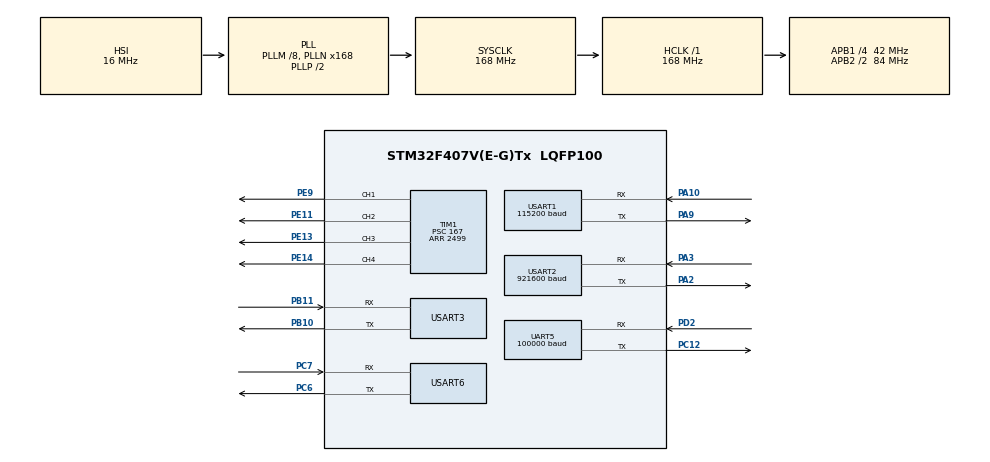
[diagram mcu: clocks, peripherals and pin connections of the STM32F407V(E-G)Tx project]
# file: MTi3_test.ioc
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Mcu.Family=STM32F4
Mcu.Name=STM32F407V(E-G)Tx
Mcu.Package=LQFP100
NVIC.PriorityGroup=NVIC_PRIORITYGROUP_4
NVIC.TIM6_DAC_IRQn=true\:0\:0\:false\:false\:true\:true
NVIC.TIM7_IRQn=true\:0\:0\:false\:false\:true\:true
NVIC.UART5_IRQn=true\:0\:0\:false\:false\:true\:true
NVIC.USART1_IRQn=true\:0\:0\:false\:false\:true\:true
NVIC.USART2_IRQn=true\:0\:0\:false\:false\:true\:true
NVIC.USART3_IRQn=true\:0\:0\:false\:false\:true\:true
NVIC.USART6_IRQn=true\:0\:0\:false\:false\:true\:true
PA10.Mode=Asynchronous
PA10.Signal=USART1_RX
PA13.Mode=Serial_Wire
PA13.Signal=SYS_JTMS-SWDIO
PA14.Mode=Serial_Wire
PA14.Signal=SYS_JTCK-SWCLK
PA2.Mode=Asynchronous
PA2.Signal=USART2_TX
PA3.Mode=Asynchronous
PA3.Signal=USART2_RX
PA9.Mode=Asynchronous
PA9.Signal=USART1_TX
PB10.Mode=Asynchronous
PB10.Signal=USART3_TX
PB11.Mode=Asynchronous
PB11.Signal=USART3_RX
PC12.Mode=Asynchronous
PC12.Signal=UART5_TX
PC6.Mode=Asynchronous
PC6.Signal=USART6_TX
PC7.Mode=Asynchronous
PC7.Signal=USART6_RX
PD2.Mode=Asynchronous
PD2.Signal=UART5_RX
PE11.Signal=S_TIM1_CH2
PE13.Signal=S_TIM1_CH3
PE14.Signal=S_TIM1_CH4
PE9.Signal=S_TIM1_CH1
PH0-OSC_IN.Mode=HSE-External-Oscillator
PH0-OSC_IN.Signal=RCC_OSC_IN
PH1-OSC_OUT.Mode=HSE-External-Oscillator
PH1-OSC_OUT.Signal=RCC_OSC_OUT
ProjectManager.HeapSize=0x200
ProjectManager.StackSize=0x4000
ProjectManager.TargetToolchain=EWARM
RCC.48MHZClocksFreq_Value=84000000
RCC.AHBFreq_Value=168000000
RCC.APB1CLKDivider=RCC_HCLK_DIV4
RCC.APB1Freq_Value=42000000
RCC.APB1TimFreq_Value=84000000
RCC.APB2CLKDivider=RCC_HCLK_DIV2
RCC.APB2Freq_Value=84000000
RCC.APB2TimFreq_Value=168000000
RCC.CortexFreq_Value=168000000
RCC.HCLKFreq_Value=168000000
RCC.HSE_VALUE=25000000
RCC.HSI_VALUE=16000000
RCC.LSE_VALUE=32768
RCC.PLLM=8
RCC.PLLN=168
RCC.SYSCLKFreq_VALUE=168000000
RCC.SYSCLKSource=RCC_SYSCLKSOURCE_PLLCLK
RCC.VCOOutputFreq_Value=336000000
SH.S_TIM1_CH1.0=TIM1_CH1,PWM Generation1 CH1
SH.S_TIM1_CH2.0=TIM1_CH2,PWM Generation2 CH2
SH.S_TIM1_CH3.0=TIM1_CH3,PWM Generation3 CH3
SH.S_TIM1_CH4.0=TIM1_CH4,PWM Generation4 CH4
TIM1.Channel-PWM\ Generation1\ CH1=TIM_CHANNEL_1
TIM1.Channel-PWM\ Generation2\ CH2=TIM_CHANNEL_2
TIM1.Channel-PWM\ Generation3\ CH3=TIM_CHANNEL_3
TIM1.Channel-PWM\ Generation4\ CH4=TIM_CHANNEL_4
TIM1.Period=2499
TIM1.Prescaler=167
TIM6.Period=999
TIM6.Prescaler=83
TIM7.Period=9999
TIM7.Prescaler=8399
UART5.BaudRate=100000
UART5.Parity=PARITY_EVEN
UART5.StopBits=UART_STOPBITS_2
UART5.VirtualMode=Asynchronous
UART5.WordLength=WORDLENGTH_9B
USART1.BaudRate=115200
USART1.Parity=PARITY_NONE
USART1.StopBits=STOPBITS_1
USART1.VirtualMode=VM_ASYNC
USART1.WordLength=WORDLENGTH_8B
USART2.BaudRate=921600
USART2.VirtualMode=VM_ASYNC
USART3.VirtualMode=VM_ASYNC
USART6.VirtualMode=VM_ASYNC
VP_TIM1_VS_ClockSourceINT.Mode=Internal
VP_TIM6_VS_ClockSourceINT.Mode=Enable_Timer
VP_TIM7_VS_ClockSourceINT.Mode=Enable_Timer
board=MTi3_test

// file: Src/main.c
/**
  ******************************************************************************
  * File Name          : main.c
  * Description        : Main program body
  ******************************************************************************
  ** This notice applies to any and all portions of this file
  * that are not between comment pairs USER CODE BEGIN and
  * USER CODE END. Other portions of this file, whether
  * inserted by the user or by software development tools
  * are owned by their respective copyright owners.
  *
  * COPYRIGHT(c) 2017 STMicroelectronics
  *
  * Redistribution and use in source and binary forms, with or without modification,
  * are permitted provided that the following conditions are met:
  *   1. Redistributions of source code must retain the above copyright notice,
  *      this list of conditions and the following disclaimer.
  *   2. Redistributions in binary form must reproduce the above copyright notice,
  *      this list of conditions and the following disclaimer in the documentation
  *      and/or other materials provided with the distribution.
  *   3. Neither the name of STMicroelectronics nor the names of its contributors
  *      may be used to endorse or promote products derived from this software
  *      without specific prior written permission.
  *
  * THIS SOFTWARE IS PROVIDED BY THE COPYRIGHT HOLDERS AND CONTRIBUTORS "AS IS"
  * AND ANY EXPRESS OR IMPLIED WARRANTIES, INCLUDING, BUT NOT LIMITED TO, THE
  * IMPLIED WARRANTIES OF MERCHANTABILITY AND FITNESS FOR A PARTICULAR PURPOSE ARE
  * DISCLAIMED. IN NO EVENT SHALL THE COPYRIGHT HOLDER OR CONTRIBUTORS BE LIABLE
  * FOR ANY DIRECT, INDIRECT, INCIDENTAL, SPECIAL, EXEMPLARY, OR CONSEQUENTIAL
  * DAMAGES (INCLUDING, BUT NOT LIMITED TO, PROCUREMENT OF SUBSTITUTE GOODS OR
  * SERVICES; LOSS OF USE, DATA, OR PROFITS; OR BUSINESS INTERRUPTION) HOWEVER
  * CAUSED AND ON ANY THEORY OF LIABILITY, WHETHER IN CONTRACT, STRICT LIABILITY,
  * OR TORT (INCLUDING NEGLIGENCE OR OTHERWISE) ARISING IN ANY WAY OUT OF THE USE
  * OF THIS SOFTWARE, EVEN IF ADVISED OF THE POSSIBILITY OF SUCH DAMAGE.
  *
  ******************************************************************************
  */
#include "main.h"
#include "stm32f4xx_hal.h"
#include "tim.h"
#include "usart.h"
#include "gpio.h"

/* USER CODE BEGIN Includes */
#include "mti.h"
/* USER CODE END Includes */

/* USER CODE BEGIN PV */
/* Private variables ---------------------------------------------------------*/
uint16_t loopCounter = 0;

extern volatile uint8_t mti_rx_flag;
extern volatile uint8_t mti_checksum_flag;
extern uint16_t mti_msg_len;
extern uint8_t mti_it_buff[1024];
extern uint8_t mti_buff[1024];
extern Sensor sensor;

#define SBUS_DATA_SIZE 23
#define UART_DATA_SIZE 25
#define START_BYTE 0x0f
#define END_BYTE 0x04

typedef struct _SBUS
{
  uint8_t         uart_rx_temp_buff[2];
  uint8_t         uart_rx_buff[UART_DATA_SIZE];
  uint16_t        data_buff[18];
  uint16_t        idx;

  volatile        uint8_t rx_flag;
  volatile        uint8_t start_flag;

}sbus_struct;

typedef struct _SBUS_PWM
{
  float pwm;

}sbus_pwm_struct;

  sbus_pwm_struct sbus_pwm;
  sbus_struct sbus;

/* USER CODE END PV */

void SystemClock_Config(void);
void sbus_data_decoding();
void sbus_data_filtering();
void sbus_pwm_make(uint16_t F_value);
/* USER CODE BEGIN PFP */
/* Private function prototypes -----------------------------------------------*/

/* USER CODE END PFP */

int main(void)
{

  /* USER CODE BEGIN 1 */

  sbus.idx = 0;
  sbus.rx_flag = 0;
  sbus.start_flag = 0;

  sbus_pwm.pwm = 0;
  /* USER CODE END 1 */

  /* MCU Configuration----------------------------------------------------------*/

  /* Reset of all peripherals, Initializes the Flash interface and the Systick. */
  HAL_Init();

  /* Configure the system clock */
  SystemClock_Config();

  /* Initialize all configured peripherals */
  MX_GPIO_Init();
  MX_USART1_UART_Init();
  MX_USART2_UART_Init();
  MX_USART3_UART_Init();
  MX_USART6_UART_Init();
  MX_TIM1_Init();
  MX_TIM6_Init();
  MX_TIM7_Init();
  MX_UART5_Init();

  /* USER CODE BEGIN 2 */
  init_mti();

  HAL_UART_Receive_IT(&huart3, mti_it_buff, 1);
  HAL_UART_Receive_IT(&huart5,sbus.uart_rx_buff,1);

  //HAL_TIM_Base_Start_IT(&htim7);
  //HAL_TIM_Base_Start_IT(&htim6);

  HAL_TIM_PWM_Start(&htim1,TIM_CHANNEL_1);
  TIM1->CCR1 = 1000;
  HAL_TIM_PWM_Start(&htim1,TIM_CHANNEL_2);
  TIM1->CCR2 = 1000;
  HAL_TIM_PWM_Start(&htim1,TIM_CHANNEL_3);
  TIM1->CCR3 = 1000;
  HAL_TIM_PWM_Start(&htim1,TIM_CHANNEL_4);
  TIM1->CCR4 = 1000;
  /* USER CODE END 2 */

  /* Infinite loop */
  /* USER CODE BEGIN WHILE */
  while (1)
  {
    if(sbus.rx_flag == 1)
    {
      sbus.rx_flag = 0;
      sbus_data_filtering();
    }

    if(mti_rx_flag == 1)
    {
      mti_rx_flag = 0;
      mti_checksum_flag = filter_mti();
      if(mti_checksum_flag == 1)
      {
        //mti_checksum_flag = 0;
        decode_mti(EULER_ANGLES);
        printf("%.4d \r\n",(uint32_t)(sensor.euler[0]*3 + 1500.0f));
        TIM1->CCR1 = (uint32_t)(sensor.euler[0]*3 + 1500.0f);
        //loopCounter++;
      }
    }

  /* USER CODE END WHILE */

  }

}

/** System Clock Configuration
*/
void SystemClock_Config(void)
{

  RCC_OscInitTypeDef RCC_OscInitStruct;
  RCC_ClkInitTypeDef RCC_ClkInitStruct;

    /**Configure the main internal regulator output voltage
    */
  __HAL_RCC_PWR_CLK_ENABLE();

  __HAL_PWR_VOLTAGESCALING_CONFIG(PWR_REGULATOR_VOLTAGE_SCALE1);

    /**Initializes the CPU, AHB and APB busses clocks
    */
  RCC_OscInitStruct.OscillatorType = RCC_OSCILLATORTYPE_HSI;
  RCC_OscInitStruct.HSIState = RCC_HSI_ON;
  RCC_OscInitStruct.HSICalibrationValue = 16;
  RCC_OscInitStruct.PLL.PLLState = RCC_PLL_ON;
  RCC_OscInitStruct.PLL.PLLSource = RCC_PLLSOURCE_HSI;
  RCC_OscInitStruct.PLL.PLLM = 8;
  RCC_OscInitStruct.PLL.PLLN = 168;
  RCC_OscInitStruct.PLL.PLLP = RCC_PLLP_DIV2;
  RCC_OscInitStruct.PLL.PLLQ = 4;
  if (HAL_RCC_OscConfig(&RCC_OscInitStruct) != HAL_OK)
  {
    _Error_Handler(__FILE__, __LINE__);
  }

    /**Initializes the CPU, AHB and APB busses clocks
    */
  RCC_ClkInitStruct.ClockType = RCC_CLOCKTYPE_HCLK|RCC_CLOCKTYPE_SYSCLK
                              |RCC_CLOCKTYPE_PCLK1|RCC_CLOCKTYPE_PCLK2;
  RCC_ClkInitStruct.SYSCLKSource = RCC_SYSCLKSOURCE_PLLCLK;
  RCC_ClkInitStruct.AHBCLKDivider = RCC_SYSCLK_DIV1;
  RCC_ClkInitStruct.APB1CLKDivider = RCC_HCLK_DIV4;
  RCC_ClkInitStruct.APB2CLKDivider = RCC_HCLK_DIV2;

  if (HAL_RCC_ClockConfig(&RCC_ClkInitStruct, FLASH_LATENCY_5) != HAL_OK)
  {
    _Error_Handler(__FILE__, __LINE__);
  }

    /**Configure the Systick interrupt time
    */
  HAL_SYSTICK_Config(HAL_RCC_GetHCLKFreq()/1000);

    /**Configure the Systick
    */
  HAL_SYSTICK_CLKSourceConfig(SYSTICK_CLKSOURCE_HCLK);

  /* SysTick_IRQn interrupt configuration */
  HAL_NVIC_SetPriority(SysTick_IRQn, 0, 0);
}

/* USER CODE BEGIN 4 */
void sbus_pwm_make(uint16_t F_value){
   //pwm = value / ((max_pwm - min_pwm) / (max_duty - min_duty)) + 3695
   float pulse;

   pulse = F_value *0.625 + 880;
   sbus_pwm.pwm = pulse;
   //__HAL_TIM_SetCompare(&htim1, TIM_CHANNEL_1, sbus_pwm.pwm);

   //TIM1->CCR1 = (uint32_t)sbus_pwm.pwm;

   //printf("%.4d %.4f \r\n", F_value, sbus_pwm.pwm);
}

void sbus_data_filtering()
{
  if(sbus.idx == 0 && sbus.uart_rx_temp_buff[0] != START_BYTE)
    sbus.start_flag = 0;

  if(sbus.idx == 0 && sbus.uart_rx_temp_buff[0] == START_BYTE && sbus.start_flag == 0)
    sbus.start_flag = 1;

  if(sbus.start_flag)
  {
    sbus.uart_rx_buff[sbus.idx++] = sbus.uart_rx_temp_buff[0];

    if(sbus.idx == UART_DATA_SIZE)
    {
      sbus.idx = 0;
      sbus.start_flag = 0;

      if((sbus.uart_rx_buff[24]&0x0f) == 0x04)
        sbus_data_decoding();
    }
  }
}

void sbus_data_decoding()
{
  sbus.data_buff[0] = sbus.uart_rx_buff[1] + (uint16_t)((sbus.uart_rx_buff[2]&0x07)<<8);
  sbus.data_buff[1] = (uint16_t)((sbus.uart_rx_buff[2]&0xf8)>>3) + (uint16_t)((sbus.uart_rx_buff[3]&0x3f)<<5);
  sbus.data_buff[2] = (uint16_t)((sbus.uart_rx_buff[3]&0xc0)>>6) + (uint16_t)(sbus.uart_rx_buff[4]<<2) + (uint16_t)((sbus.uart_rx_buff[5]&0x01)<<10);
  sbus.data_buff[3] = (uint16_t)((sbus.uart_rx_buff[5]&0xfe)>>1) + (uint16_t)((sbus.uart_rx_buff[6]&0x0f)<<7);
  sbus.data_buff[4] = (uint16_t)((sbus.uart_rx_buff[6]&0xf0)>>4) + (uint16_t)((sbus.uart_rx_buff[7]&0x7f)<<4);
  sbus.data_buff[5] = (uint16_t)((sbus.uart_rx_buff[7]&0x80)>>7) + (uint16_t)(sbus.uart_rx_buff[8]<<1) + (uint16_t)((sbus.uart_rx_buff[9]&0x03)<<9);
  sbus.data_buff[6] = (uint16_t)((sbus.uart_rx_buff[9]&0xfc)>>2) + (uint16_t)((sbus.uart_rx_buff[10]&0x1f)<<6);

  sbus_pwm_make(sbus.data_buff[0]);
          loopCounter++;

  //printf("%.4d %.4d %.4d %.4d %.4d %.4d %.4d \r\n",sbus.data_buff[0],sbus.data_buff[1], sbus.data_buff[2], sbus.data_buff[3], sbus.data_buff[4], sbus.data_buff[5], sbus.data_buff[6]);
}

void HAL_UART_RxCpltCallback(UART_HandleTypeDef *huart)
{
  static int idx;
  if(huart->Instance==USART3){
    HAL_UART_Receive_IT(&huart3, mti_it_buff, 1);

    if(mti_it_buff[0] == 0xfa)
    {
      idx = 0;
    }

    mti_buff[idx] = mti_it_buff[0];
    idx++;

    if((idx >= mti_msg_len))
    {
      mti_rx_flag = 1;
      idx = 0;
    }
  }
  if(huart->Instance==UART5){

    HAL_UART_Receive_IT(&huart5,sbus.uart_rx_temp_buff,1);

    if(!sbus.rx_flag)
      sbus.rx_flag = 1;
  }
}

void HAL_TIM_PeriodElapsedCallback(TIM_HandleTypeDef *htim)
{
  if(htim->Instance==TIM7){
    printf("test %.4d %.4d\r\n",HAL_GetTick(),loopCounter);
    loopCounter = 0;
  }
  else if(htim->Instance==TIM6){
    //TIM1->CCR1 = 1000 + loopCounter;
    loopCounter++;
  }
}

#ifdef __GNUC__
/* With GCC, small printf (option LD Linker->Libraries->Small printf
set to 'Yes') calls __io_putchar() */
#define PUTCHAR_PROTOTYPE int __io_putchar(int ch)
#else
#define PUTCHAR_PROTOTYPE int fputc(int ch, FILE *f)
#endif /* __GNUC__ */
PUTCHAR_PROTOTYPE
{
  /* Place your implementation of fputc here */
  /* e.g. write a character to the EVAL_COM1 and Loop until the end of transmission */
  HAL_UART_Transmit(&huart2, (uint8_t *)&ch, 1, 0xFFFF);

  return ch;
}
/* USER CODE END 4 */

void _Error_Handler(char * file, int line)
{
  while(1)
  {
  }
}

/************************ (C) COPYRIGHT STMicroelectronics *****END OF FILE****/
